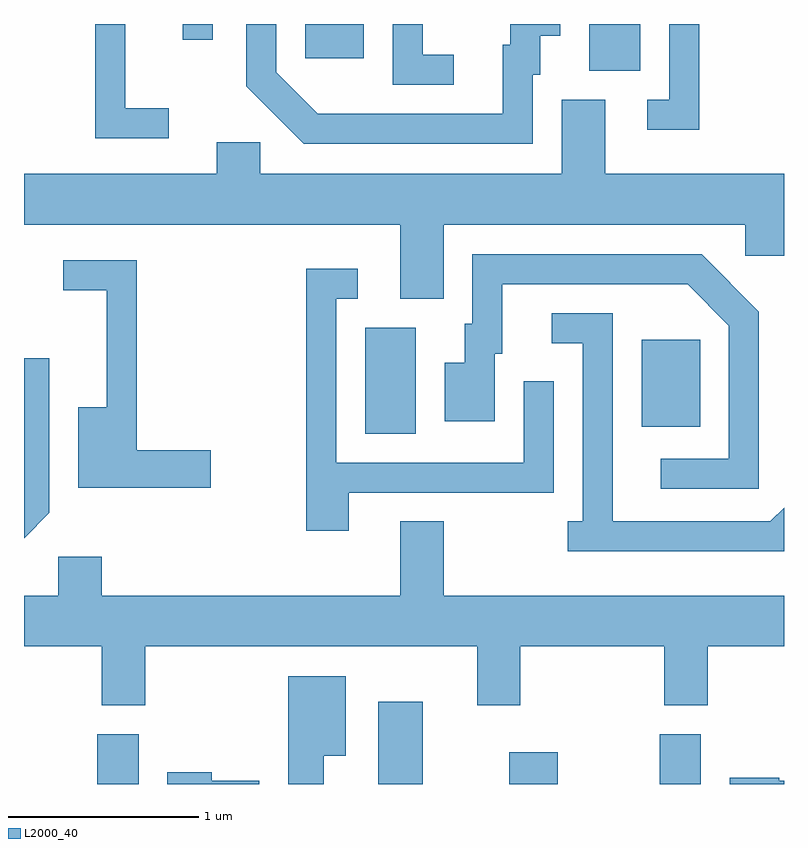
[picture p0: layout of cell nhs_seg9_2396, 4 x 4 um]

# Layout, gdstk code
import gdstk
lib = gdstk.Library(unit=1e-6, precision=1e-09)
def R(c, l, rs):  # rectangles x0, y0, x1, y1
    for r in rs: c.add(gdstk.rectangle(r[:2], r[2:], *l))
def P(c, l, *ps):  # polygons
    for p in ps: c.add(gdstk.Polygon(p, *l))
L2000_40 = (2000, 40)

nhs_seg9_2396 = lib.new_cell('nhs_seg9_2396')
R(nhs_seg9_2396, L2000_40, [(255.996,1984.432,256.214,1984.694), (257.476,1984.432,257.709,1984.864), (258.166,1984.432,258.419,1984.599), (258.956,1984.432,259.174,1984.694), (257.406,1986.276,257.674,1986.834), (258.861,1986.311,259.169,1986.769), (258.586,1988.186,258.854,1988.432), (257.091,1988.251,257.399,1988.432), (256.446,1988.348,256.604,1988.432)])
P(nhs_seg9_2396, L2000_40, [(258.289,1988.166),(258.329,1988.166),(258.329,1988.371),(258.434,1988.371),(258.434,1988.432),(258.171,1988.432),(258.171,1988.324),(258.131,1988.324),(258.131,1987.959),(257.157,1987.959),(256.939,1988.177),(256.939,1988.432),(256.781,1988.432),(256.781,1988.104),(257.084,1987.801),(258.289,1987.801)],
  [(259.164,1988.432),(259.006,1988.432),(259.006,1988.034),(258.892,1988.034),(258.892,1987.876),(259.164,1987.876)],
  [(257.873,1988.269),(257.709,1988.269),(257.709,1988.432),(257.551,1988.432),(257.551,1988.111),(257.873,1988.111)],
  [(256.373,1987.989),(256.144,1987.989),(256.144,1988.432),(255.986,1988.432),(255.986,1987.831),(256.373,1987.831)],
  [(257.819,1987.376),(259.406,1987.376),(259.406,1987.211),(259.611,1987.211),(259.611,1987.644),(258.669,1987.644),(258.669,1988.034),(258.441,1988.034),(258.441,1987.644),(256.854,1987.644),(256.854,1987.809),(256.626,1987.809),(256.626,1987.644),(255.611,1987.644),(255.611,1987.376),(257.591,1987.376),(257.591,1986.986),(257.819,1986.986)],
  [(259.479,1986.917),(259.177,1987.219),(257.971,1987.219),(257.971,1986.854),(257.931,1986.854),(257.931,1986.649),(257.826,1986.649),(257.826,1986.341),(258.089,1986.341),(258.089,1986.696),(258.129,1986.696),(258.129,1987.061),(259.104,1987.061),(259.321,1986.844),(259.321,1986.144),(258.962,1986.144),(258.962,1985.986),(259.479,1985.986)],
  [(256.594,1986.189),(256.204,1986.189),(256.204,1987.189),(255.818,1987.189),(255.818,1987.031),(256.046,1987.031),(256.046,1986.414),(255.896,1986.414),(255.896,1985.991),(256.594,1985.991)],
  [(257.319,1985.966),(258.399,1985.966),(258.399,1986.553),(258.241,1986.553),(258.241,1986.124),(257.254,1986.124),(257.254,1986.986),(257.368,1986.986),(257.368,1987.144),(257.096,1987.144),(257.096,1985.766),(257.319,1985.766)],
  [(259.611,1985.887),(259.539,1985.814),(258.709,1985.814),(258.709,1986.909),(258.388,1986.909),(258.388,1986.751),(258.551,1986.751),(258.551,1985.814),(258.473,1985.814),(258.473,1985.656),(259.611,1985.656)],
  [(255.744,1985.859),(255.744,1986.673),(255.611,1986.673),(255.611,1985.725)],
  [(257.819,1985.814),(257.591,1985.814),(257.591,1985.424),(256.019,1985.424),(256.019,1985.629),(255.791,1985.629),(255.791,1985.424),(255.611,1985.424),(255.611,1985.156),(256.021,1985.156),(256.021,1984.846),(256.249,1984.846),(256.249,1985.156),(257.996,1985.156),(257.996,1984.846),(258.224,1984.846),(258.224,1985.156),(258.981,1985.156),(258.981,1984.846),(259.209,1984.846),(259.209,1985.156),(259.611,1985.156),(259.611,1985.424),(257.819,1985.424)],
  [(257.189,1984.581),(257.304,1984.581),(257.304,1984.999),(257.001,1984.999),(257.001,1984.432),(257.189,1984.432)],
  [(256.849,1984.449),(256.599,1984.449),(256.599,1984.494),(256.366,1984.494),(256.366,1984.432),(256.849,1984.432)],
  [(259.611,1984.449),(259.585,1984.449),(259.585,1984.464),(259.326,1984.464),(259.326,1984.432),(259.611,1984.432)])

lib.write_gds('nhs_seg9_2396.gds')
